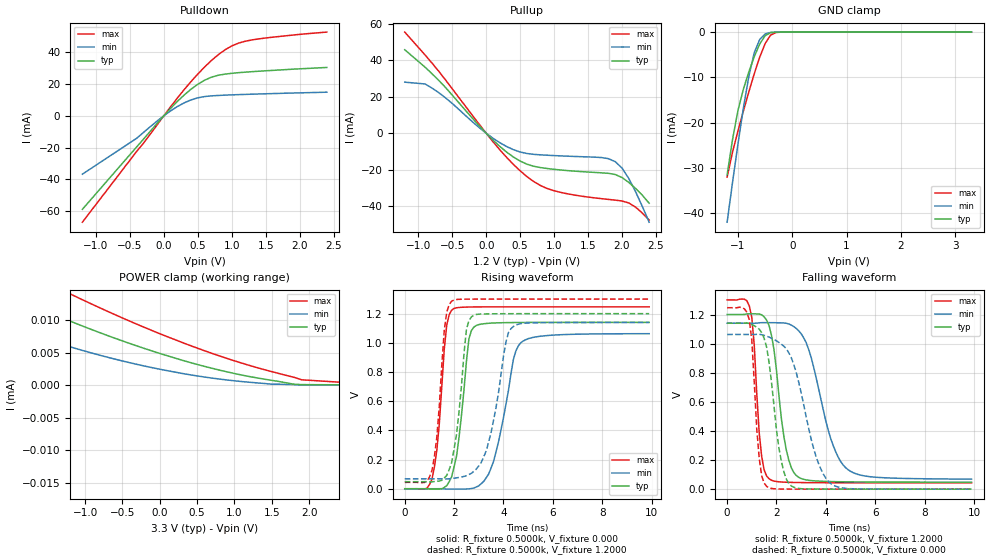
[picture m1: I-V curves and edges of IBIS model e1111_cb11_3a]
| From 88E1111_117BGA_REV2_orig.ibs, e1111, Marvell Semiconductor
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|   Model e1111_cb11_3a
[Model]   e1111_cb11_3a
Model_type   I/O
Polarity   Non-Inverting
Enable   Active-High
Vinl =   0.4100V
Vinh =   0.5700V
Vmeas =   0.6000V
Cref =  15.0000pF
Vref =  0.000V
C_comp   0.8200pF   0.7000pF   0.9400pF
[Temperature Range]   25.0000   0.1250k   0.000
[Pullup Reference]   1.2000V   1.1400V   1.3000V
[Pulldown Reference]   0.000V   0.000V   0.000V
[POWER Clamp Reference]   3.3000V   3.0000V   3.6000V
[GND Clamp Reference]   0.000V   0.000V   0.000V
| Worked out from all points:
|   slope of the pulldown table from 0 to 0.18 V, typ, clamps not added: 22 ohm
|   slope of the pullup table from 0 to 0.18 V, typ, clamps not added: 27.7 ohm
|   GND clamp passes 1 mA (typ) near -0.51 V on its own axis
|   rising waveform, R_fixture 0.5000k, V_fixture 0.000: 20-80 % time 422ps typ, 728ps min, 338ps max; typ from 0 V to 1.14 V
|   rising waveform, R_fixture 0.5000k, V_fixture 1.2000: 20-80 % time 421ps typ, 679ps min, 330ps max; typ from 0.048 V to 1.2 V
|   falling waveform, R_fixture 0.5000k, V_fixture 1.2000: 20-80 % time 501ps typ, 970ps min, 289ps max; typ from 1.2 V to 0.048 V
|   falling waveform, R_fixture 0.5000k, V_fixture 0.000: 20-80 % time 498ps typ, 914ps min, 273ps max; typ from 1.14 V to 0 V
[Pulldown]
| voltage   I(typ)   I(min)   I(max)
-1.2V     -58.93mA   -36.79mA   -67.03mA
-400mV    -19.6mA    -14.18mA   -22.43mA
0V        232.3pA    4.045nA    596.9pA
200mV     9.074mA    5.836mA    11.2mA
400mV     16.72mA    9.988mA    21.52mA
500mV     19.85mA    11.31mA    26.28mA
700mV     24.29mA    12.53mA    34.78mA
800mV     25.5mA     12.79mA    38.41mA
1V        26.75mA    13.17mA    43.99mA
1.2V      27.48mA    13.47mA    46.95mA
1.6V      28.58mA    13.97mA    49.49mA
2.4V      30.43mA    14.85mA    52.71mA
[Pullup]
| voltage   I(typ)   I(min)   I(max)
-1.2V     45.7mA     27.96mA    55.35mA
-900mV    36.13mA    26.97mA    42.8mA
-600mV    25.08mA    19.39mA    29.18mA
100mV     -3.744mA   -2.726mA   -4.621mA
400mV     -12.98mA   -8.958mA   -17.02mA
600mV     -16.92mA   -11.07mA   -23.71mA
1V        -19.72mA   -12.21mA   -31.44mA
1.7V      -21.64mA   -13.29mA   -35.78mA
1.9V      -22.56mA   -15.52mA   -36.57mA
2V        -24.21mA   -19.02mA   -37.05mA
2.1V      -26.88mA   -24.73mA   -38.12mA
2.4V      -38.28mA   -48.64mA   -47.47mA
[GND_clamp]
| voltage   I(typ)   I(min)   I(max)
-1.2V     -31.49mA   -41.94mA   -32mA
-1.1V     -23.67mA   -33.13mA   -26.45mA
-1V       -17.25mA   -24.65mA   -21.8mA
-900mV    -12.57mA   -16.71mA   -17.41mA
-800mV    -8.77mA    -9.751mA   -13.18mA
-700mV    -5.41mA    -4.536mA   -9.175mA
-600mV    -2.621mA   -1.612mA   -5.532mA
-500mV    -789.8uA   -406.1uA   -2.528mA
-400mV    -116.3uA   -69.11uA   -660.5uA
-300mV    -9.254uA   -8.9uA     -76.95uA
-200mV    -471.8nA   -923.8nA   -4.378uA
3.3V      4.856uA    3.163uA    6.54uA
[POWER_clamp]
| voltage   I(typ)   I(min)   I(max)
-1.2V     9.821uA    5.871uA    14uA
-600mV    7.193uA    3.984uA    10.82uA
0V        4.856uA    2.428uA    7.892uA
700mV     2.572uA    1.068uA    4.866uA
1.3V      1.097uA    332.5nA    2.683uA
1.8V      121.4nA    58.71nA    1.179uA
1.9V      64.35nA    3.824nA    804.9nA
3.1V      315.6pA    -89.05nA   6.323nA
3.2V      199.2pA    -923.8nA   5.54nA
3.4V      -18.51nA   -69.11uA   4.082nA
3.5V      -471.8nA   -406.1uA   3.332nA
3.6V      -9.254uA   -1.612mA   -1.022nA
[Ramp]
| variable   typ   min   max
dV/dt_r   0.6840/0.4218n   0.6376/0.7284n   0.7480/0.3385n
dV/dt_f   0.6910/0.5010n   0.6426/0.9697n   0.7538/0.2890n
R_load = 0.5000k
[Rising Waveform]
R_fixture = 0.5000k
V_fixture = 0.000
V_fixture_min = 0.000
V_fixture_max = 0.000
| time   V(typ)   V(min)   V(max)
0s        0V         0V         0V
1.1ns     -2.39mV    -3.897uV   63.51mV
1.3ns     -2.327mV   47.75uV    264.6mV
1.7ns     20.97mV    -2.302mV   1.121V
1.9ns     82.3mV     -2.352mV   1.224V
2.6ns     1.028V     -847.3uV   1.245V
2.8ns     1.108V     4.818mV    1.246V
3.6ns     1.136V     188.6mV    1.246V
4.7ns     1.139V     1.001V     1.247V
9.9ns     1.14V      1.063V     1.247V
[Rising Waveform]
R_fixture = 0.5000k
V_fixture = 1.2000
V_fixture_min = 1.1400
V_fixture_max = 1.3000
| time   V(typ)   V(min)   V(max)
0s        48.32mV    67.83mV    43.71mV
1.1ns     47.47mV    67.83mV    123.1mV
1.3ns     50.74mV    67.88mV    355.1mV
1.6ns     73.89mV    66.95mV    1.084V
1.9ns     178.6mV    69.97mV    1.286V
2.5ns     1.094V     89.39mV    1.299V
2.7ns     1.178V     105.8mV    1.3V
3.3ns     1.198V     259.2mV    1.3V
4.4ns     1.2V       1.112V     1.3V
9.9ns     1.2V       1.14V      1.3V
[Falling Waveform]
R_fixture = 0.5000k
V_fixture = 1.2000
V_fixture_min = 1.1400
V_fixture_max = 1.3000
| time   V(typ)   V(min)   V(max)
0s        1.2V       1.14V      1.3V
900ps     1.205V     1.14V      1.258V
1.1ns     1.204V     1.14V      985.8mV
1.4ns     1.198V     1.144V     224.6mV
1.7ns     1.123V     1.144V     70.97mV
2.4ns     267.3mV    1.14V      47.62mV
2.8ns     94.2mV     1.105V     45.83mV
3.3ns     61.27mV    961.2mV    44.81mV
4.8ns     50.56mV    147.8mV    43.89mV
9.9ns     48.36mV    69.04mV    43.72mV
[Falling Waveform]
R_fixture = 0.5000k
V_fixture = 0.000
V_fixture_min = 0.000
V_fixture_max = 0.000
| time   V(typ)   V(min)   V(max)
0s        1.14V      1.063V     1.247V
900ps     1.137V     1.063V     1.163V
1ns       1.131V     1.063V     1.024V
1.3ns     1.099V     1.064V     212.7mV
1.6ns     975.9mV    1.051V     19.01mV
2.1ns     280.7mV    1.008V     1.246mV
2.6ns     22.21mV    902.8mV    360.3uV
3.6ns     736.8uV    224.7mV    108.2uV
4.2ns     315.8uV    38.22mV    38.93uV
9.9ns     327.9nV    44.58uV    816.6nV
